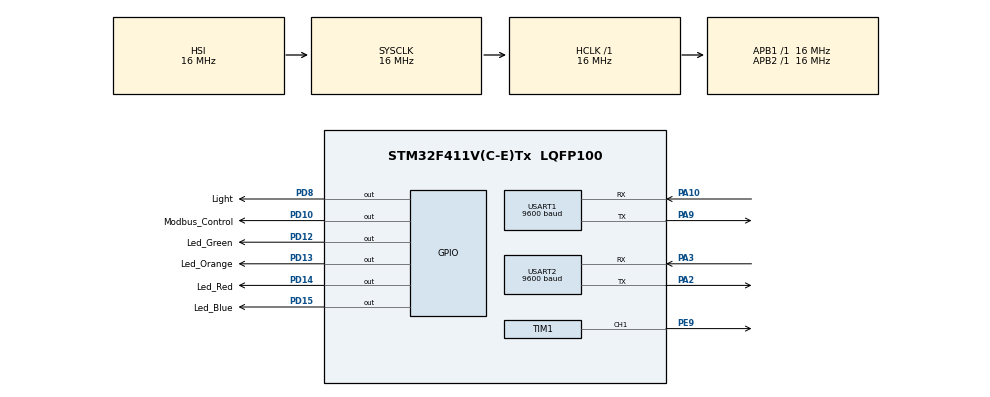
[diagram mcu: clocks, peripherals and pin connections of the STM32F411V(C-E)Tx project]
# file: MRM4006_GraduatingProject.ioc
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Mcu.Family=STM32F4
Mcu.Name=STM32F411V(C-E)Tx
Mcu.Package=LQFP100
NVIC.PriorityGroup=NVIC_PRIORITYGROUP_4
NVIC.USART1_IRQn=true\:0\:0\:false\:false\:true\:true
NVIC.USART2_IRQn=true\:0\:0\:false\:false\:true\:true
PA10.Mode=Asynchronous
PA10.Signal=USART1_RX
PA13.Mode=Serial_Wire
PA13.Signal=SYS_JTMS-SWDIO
PA14.Mode=Serial_Wire
PA14.Signal=SYS_JTCK-SWCLK
PA2.Mode=Asynchronous
PA2.Signal=USART2_TX
PA3.Mode=Asynchronous
PA3.Signal=USART2_RX
PA9.Mode=Asynchronous
PA9.Signal=USART1_TX
PD10.GPIO_Label=Modbus_Control
PD10.Signal=GPIO_Output
PD12.GPIO_Label=Led_Green
PD12.Signal=GPIO_Output
PD13.GPIO_Label=Led_Orange
PD13.Signal=GPIO_Output
PD14.GPIO_Label=Led_Red
PD14.Signal=GPIO_Output
PD15.GPIO_Label=Led_Blue
PD15.Signal=GPIO_Output
PD8.GPIO_Label=Light
PD8.Signal=GPIO_Output
PE9.Signal=S_TIM1_CH1
ProjectManager.HeapSize=0x200
ProjectManager.StackSize=0x400
ProjectManager.TargetToolchain=EWARM
RCC.AHBFreq_Value=16000000
RCC.APB1Freq_Value=16000000
RCC.APB2Freq_Value=16000000
RCC.CortexFreq_Value=16000000
RCC.HSE_VALUE=25000000
RCC.HSI_VALUE=16000000
RCC.LSE_VALUE=32768
RCC.SYSCLKFreq_VALUE=16000000
RCC.VCOOutputFreq_Value=192000000
SH.S_TIM1_CH1.0=TIM1_CH1,PWM Generation1 CH1
TIM1.Channel-PWM\ Generation1\ CH1=TIM_CHANNEL_1
TIM1.Period=19999
TIM1.Prescaler=15
USART1.BaudRate=9600
USART1.VirtualMode=VM_ASYNC
USART2.BaudRate=9600
USART2.VirtualMode=VM_ASYNC
board=MRM4006_GraduatingProject

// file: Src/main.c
/**
  ******************************************************************************
  * @file           : main.c
  * @brief          : Main program body
  ******************************************************************************
  ** This notice applies to any and all portions of this file
  * that are not between comment pairs USER CODE BEGIN and
  * USER CODE END. Other portions of this file, whether
  * inserted by the user or by software development tools
  * are owned by their respective copyright owners.
  *
  * COPYRIGHT(c) 2018 STMicroelectronics
  *
  * Redistribution and use in source and binary forms, with or without modification,
  * are permitted provided that the following conditions are met:
  *   1. Redistributions of source code must retain the above copyright notice,
  *      this list of conditions and the following disclaimer.
  *   2. Redistributions in binary form must reproduce the above copyright notice,
  *      this list of conditions and the following disclaimer in the documentation
  *      and/or other materials provided with the distribution.
  *   3. Neither the name of STMicroelectronics nor the names of its contributors
  *      may be used to endorse or promote products derived from this software
  *      without specific prior written permission.
  *
  * THIS SOFTWARE IS PROVIDED BY THE COPYRIGHT HOLDERS AND CONTRIBUTORS "AS IS"
  * AND ANY EXPRESS OR IMPLIED WARRANTIES, INCLUDING, BUT NOT LIMITED TO, THE
  * IMPLIED WARRANTIES OF MERCHANTABILITY AND FITNESS FOR A PARTICULAR PURPOSE ARE
  * DISCLAIMED. IN NO EVENT SHALL THE COPYRIGHT HOLDER OR CONTRIBUTORS BE LIABLE
  * FOR ANY DIRECT, INDIRECT, INCIDENTAL, SPECIAL, EXEMPLARY, OR CONSEQUENTIAL
  * DAMAGES (INCLUDING, BUT NOT LIMITED TO, PROCUREMENT OF SUBSTITUTE GOODS OR
  * SERVICES; LOSS OF USE, DATA, OR PROFITS; OR BUSINESS INTERRUPTION) HOWEVER
  * CAUSED AND ON ANY THEORY OF LIABILITY, WHETHER IN CONTRACT, STRICT LIABILITY,
  * OR TORT (INCLUDING NEGLIGENCE OR OTHERWISE) ARISING IN ANY WAY OUT OF THE USE
  * OF THIS SOFTWARE, EVEN IF ADVISED OF THE POSSIBILITY OF SUCH DAMAGE.
  *
  ******************************************************************************
  */
#include "main.h"
#include "stm32f4xx_hal.h"

/* USER CODE BEGIN Includes */
#include "crc.h"
#include "modbus.h"
/* USER CODE END Includes */

TIM_HandleTypeDef htim1;

UART_HandleTypeDef huart1;
UART_HandleTypeDef huart2;

/* USER CODE BEGIN PV */
/* Private variables ---------------------------------------------------------*/
uint8_t modbusResponse[20];
uint8_t modbusData[8];
int resultValue,readContol;
int raspDataControl = 0;
uint8_t raspData[12];
char raspRet[12];
int functionCode;
int value;
int s, temp;
int storeLoc = 0;
int waitCounter = 0;
/* USER CODE END PV */

void SystemClock_Config(void);
static void MX_GPIO_Init(void);
static void MX_USART2_UART_Init(void);
static void MX_TIM1_Init(void);
static void MX_USART1_UART_Init(void);
void HAL_TIM_MspPostInit(TIM_HandleTypeDef *htim);

/* USER CODE BEGIN PFP */
/* Private function prototypes -----------------------------------------------*/

/* USER CODE END PFP */

int main(void)
{

  /* MCU Configuration----------------------------------------------------------*/

  /* Reset of all peripherals, Initializes the Flash interface and the Systick. */
  HAL_Init();

  /* Configure the system clock */
  SystemClock_Config();

  /* Initialize all configured peripherals */
  MX_GPIO_Init();
  MX_USART2_UART_Init();
  MX_TIM1_Init();
  MX_USART1_UART_Init();
  /* USER CODE BEGIN 2 */
  HAL_TIM_PWM_Start(&htim1,TIM_CHANNEL_1);
  int deneme = 1;
  raspDataControl = 0;
  /* USER CODE END 2 */

  /* Infinite loop */
  /* USER CODE BEGIN WHILE */
  while (1)
  {
    if(raspDataControl == 0){
      // waiting raspberry pi data
      HAL_UART_Receive_IT(&huart1, (uint8_t*)raspData, 6);
      raspDataControl = 2;
    }
    else if(waitCounter == 1){
      // raspberry pi sent the data
      HAL_Delay(5);

      s = 0;
      temp = 0;
      for(int i = 0; i < 6; i++){
        if(raspData[i] == 'a'){
          s = i;
          break;
        }
      }
      if(s == 1){
        functionCode = raspData[0] - '0';
      }
      else if(s == 2){
        int temp1 = raspData[0] - '0';
        temp1 = temp1 * 10;
        int temp2 = raspData[1] - '0';
        functionCode = temp1 + temp2;
      }
      temp = s;
      s = s + 1;
      for(int i = s; i < 6; i++){
        if(raspData[i] == 'a'){
          s = i - 1;
          break;
        }
        else if(i == 5){
          s = i;
          break;
        }
      }
      HAL_Delay(3);
      int tempDif = s - temp;
      if(tempDif == 3){
        int temp1 = raspData[s - 2] - '0';
        temp1 = temp1 * 100;
        int temp2 = raspData[s - 1] - '0';
        temp2 = temp2 * 10;
        int temp3 = raspData[s] - '0';
        value = temp1 + temp2 + temp3;
      }
      else if((s - temp) == 2){
        int temp1 = raspData[s - 1] - '0';
        temp1 = temp1 * 10;
        int temp2 = raspData[s] - '0';
        value = temp1 + temp2;
      }
      else if((s - temp) == 1){
        if(raspData[s] == 'b'){
          value = -1;
        }
        else{
          value = raspData[s] - '0';
        }
      }
      // Perde
      if(functionCode == 50){
        if(value == -1){
          // Data read
          int tempr = (storeLoc - 1000) / 10;
          char dummy[20] = "dummyyoy";
          if(tempr >= 0 && tempr <= 9){
            HAL_UART_Transmit(&huart2, (uint8_t*)dummy, 8, 1000);
            HAL_Delay(2);
            sprintf(raspRet, "00%d", tempr);
            HAL_UART_Transmit(&huart2, (uint8_t*)raspRet, 3, 1000);
          }
          else if(tempr >= 10 && tempr <= 99){
            HAL_UART_Transmit(&huart2, (uint8_t*)dummy, 8, 1000);
            HAL_Delay(2);
            sprintf(raspRet, "0%d", tempr);
            HAL_UART_Transmit(&huart2, (uint8_t*)raspRet, 3, 1000);
          }
          else{
            HAL_UART_Transmit(&huart2, (uint8_t*)dummy, 8, 1000);
            HAL_Delay(2);
            sprintf(raspRet, "%d", tempr);
            HAL_UART_Transmit(&huart2, (uint8_t*)raspRet, 3, 1000);
          }
        }
        else{
          // Data write
          if(value == 1){
            value = 2000;
          }
          else{
            value = value / 10;
            value = (value * 10) + 1000;
          }

          storeLoc = value;
          __HAL_TIM_SET_COMPARE(&htim1,TIM_CHANNEL_1,storeLoc);
          HAL_Delay(3);
        }
      }
      // Isik
      else if(functionCode == 51){
        // resetting light pin
        if(value == 0){
          HAL_GPIO_WritePin(Light_GPIO_Port,Light_Pin,GPIO_PIN_RESET);
        }
        // setting light pin
        else{
          HAL_GPIO_WritePin(Light_GPIO_Port,Light_Pin,GPIO_PIN_SET);
        }
      }
      else{
        if(value == -1){
          //read data
          createModBusData(01,03,functionCode,01,modbusData);
          readContol = 1;
          readSingleRegister(&huart2,modbusData,modbusResponse);
          while(readContol !=0){}
          if(resultValue >= 0 && resultValue <= 9){
            sprintf(raspRet, "%00d", resultValue);
            HAL_UART_Transmit(&huart2, (uint8_t*)raspRet, 3, 1000);
          }
          else if(resultValue >= 10 && resultValue <= 99){
            sprintf(raspRet, "%0d", resultValue);
            HAL_UART_Transmit(&huart2, (uint8_t*)raspRet, 3, 1000);
          }
          else{
            sprintf(raspRet, "%d", resultValue);
            HAL_UART_Transmit(&huart2, (uint8_t*)raspRet, 3, 1000);
          }
        }
        else{
          // write data
          createModBusData(01,06,functionCode,value,modbusData);
          writeSingleRegister(&huart2,modbusData,modbusResponse);
          HAL_Delay(50);
        }
      }

      raspDataControl = 0;
      waitCounter = 0;
    }
    else{
      // do nothing.
    }
    /*
    if(0){
      //Klima sinyali gelirse
      for(int i = 1000; i < 2001; i+=20){
        __HAL_TIM_SET_COMPARE(&htim1,TIM_CHANNEL_1,i);
        HAL_Delay(33);
       }
      for(int i = 2000; i > 999; i-=20){
        __HAL_TIM_SET_COMPARE(&htim1,TIM_CHANNEL_1,i);
        HAL_Delay(33);
       }
    }
    else if(0){
      if(deneme == 1){

        //Write example
        //createModBusData(01,06,02,05,modbusData);
        //writeSingleRegister(&huart2,modbusData,modbusResponse);
        //deneme = 0;
        //HAL_Delay(500);
        //Read example
        createModBusData(01,03,03,01,modbusData);
        readContol = 1;
        readSingleRegister(&huart2,modbusData,modbusResponse);
        deneme = 0;
        HAL_Delay(500);
         //HAL_GPIO_TogglePin(Led_Blue_GPIO_Port, Led_Blue_Pin);
                    char aa[20];
            sprintf(aa, "%d", resultValue);
        HAL_UART_Transmit(&huart2, (uint8_t*)aa, 3, 1000);

      }
    }
    else if(1){
      if(deneme==1){
        readContol = 5;
        HAL_UART_Receive_IT(&huart1, (uint8_t*)raspData, 6);
        while(readContol == 5){}
        createModBusData(01,03,03,01,modbusData);
        readContol = 1;
        readSingleRegister(&huart2,modbusData,modbusResponse);
        deneme = 0;
        HAL_Delay(500);
        char aa[20];
        sprintf(aa, "%d", resultValue);
        HAL_UART_Transmit(&huart2, (uint8_t*)aa, 3, 1000);

        char aa[20] = "deneme\n";
        HAL_UART_Transmit(&huart2, (uint8_t*)aa, 7, 1000);
        HAL_UART_Receive_IT(&huart1, (uint8_t*)raspData, 12);
        HAL_UART_Transmit(&huart2, (uint8_t*)aa, 7, 1000);
        //char aa[20] = "deneme\n";
        //HAL_UART_Transmit(&huart2, (uint8_t*)aa, 7, 1000);
        deneme = 0;

      }
    }
  */
  /* USER CODE END WHILE */

  }

}

void SystemClock_Config(void)
{

  RCC_OscInitTypeDef RCC_OscInitStruct;
  RCC_ClkInitTypeDef RCC_ClkInitStruct;

    /**Configure the main internal regulator output voltage
    */
  __HAL_RCC_PWR_CLK_ENABLE();

  __HAL_PWR_VOLTAGESCALING_CONFIG(PWR_REGULATOR_VOLTAGE_SCALE1);

    /**Initializes the CPU, AHB and APB busses clocks
    */
  RCC_OscInitStruct.OscillatorType = RCC_OSCILLATORTYPE_HSI;
  RCC_OscInitStruct.HSIState = RCC_HSI_ON;
  RCC_OscInitStruct.HSICalibrationValue = 16;
  RCC_OscInitStruct.PLL.PLLState = RCC_PLL_NONE;
  if (HAL_RCC_OscConfig(&RCC_OscInitStruct) != HAL_OK)
  {
    _Error_Handler(__FILE__, __LINE__);
  }

    /**Initializes the CPU, AHB and APB busses clocks
    */
  RCC_ClkInitStruct.ClockType = RCC_CLOCKTYPE_HCLK|RCC_CLOCKTYPE_SYSCLK
                              |RCC_CLOCKTYPE_PCLK1|RCC_CLOCKTYPE_PCLK2;
  RCC_ClkInitStruct.SYSCLKSource = RCC_SYSCLKSOURCE_HSI;
  RCC_ClkInitStruct.AHBCLKDivider = RCC_SYSCLK_DIV1;
  RCC_ClkInitStruct.APB1CLKDivider = RCC_HCLK_DIV1;
  RCC_ClkInitStruct.APB2CLKDivider = RCC_HCLK_DIV1;

  if (HAL_RCC_ClockConfig(&RCC_ClkInitStruct, FLASH_LATENCY_0) != HAL_OK)
  {
    _Error_Handler(__FILE__, __LINE__);
  }

    /**Configure the Systick interrupt time
    */
  HAL_SYSTICK_Config(HAL_RCC_GetHCLKFreq()/1000);

    /**Configure the Systick
    */
  HAL_SYSTICK_CLKSourceConfig(SYSTICK_CLKSOURCE_HCLK);

  /* SysTick_IRQn interrupt configuration */
  HAL_NVIC_SetPriority(SysTick_IRQn, 0, 0);
}

/* TIM1 init function */
static void MX_TIM1_Init(void)
{

  TIM_MasterConfigTypeDef sMasterConfig;
  TIM_OC_InitTypeDef sConfigOC;
  TIM_BreakDeadTimeConfigTypeDef sBreakDeadTimeConfig;

  htim1.Instance = TIM1;
  htim1.Init.Prescaler = 15;
  htim1.Init.CounterMode = TIM_COUNTERMODE_UP;
  htim1.Init.Period = 19999;
  htim1.Init.ClockDivision = TIM_CLOCKDIVISION_DIV1;
  htim1.Init.RepetitionCounter = 0;
  if (HAL_TIM_PWM_Init(&htim1) != HAL_OK)
  {
    _Error_Handler(__FILE__, __LINE__);
  }

  sMasterConfig.MasterOutputTrigger = TIM_TRGO_RESET;
  sMasterConfig.MasterSlaveMode = TIM_MASTERSLAVEMODE_DISABLE;
  if (HAL_TIMEx_MasterConfigSynchronization(&htim1, &sMasterConfig) != HAL_OK)
  {
    _Error_Handler(__FILE__, __LINE__);
  }

  sConfigOC.OCMode = TIM_OCMODE_PWM1;
  sConfigOC.Pulse = 0;
  sConfigOC.OCPolarity = TIM_OCPOLARITY_HIGH;
  sConfigOC.OCNPolarity = TIM_OCNPOLARITY_HIGH;
  sConfigOC.OCFastMode = TIM_OCFAST_DISABLE;
  sConfigOC.OCIdleState = TIM_OCIDLESTATE_RESET;
  sConfigOC.OCNIdleState = TIM_OCNIDLESTATE_RESET;
  if (HAL_TIM_PWM_ConfigChannel(&htim1, &sConfigOC, TIM_CHANNEL_1) != HAL_OK)
  {
    _Error_Handler(__FILE__, __LINE__);
  }

  sBreakDeadTimeConfig.OffStateRunMode = TIM_OSSR_DISABLE;
  sBreakDeadTimeConfig.OffStateIDLEMode = TIM_OSSI_DISABLE;
  sBreakDeadTimeConfig.LockLevel = TIM_LOCKLEVEL_OFF;
  sBreakDeadTimeConfig.DeadTime = 0;
  sBreakDeadTimeConfig.BreakState = TIM_BREAK_DISABLE;
  sBreakDeadTimeConfig.BreakPolarity = TIM_BREAKPOLARITY_HIGH;
  sBreakDeadTimeConfig.AutomaticOutput = TIM_AUTOMATICOUTPUT_DISABLE;
  if (HAL_TIMEx_ConfigBreakDeadTime(&htim1, &sBreakDeadTimeConfig) != HAL_OK)
  {
    _Error_Handler(__FILE__, __LINE__);
  }

  HAL_TIM_MspPostInit(&htim1);

}

/* USART1 init function */
static void MX_USART1_UART_Init(void)
{

  huart1.Instance = USART1;
  huart1.Init.BaudRate = 9600;
  huart1.Init.WordLength = UART_WORDLENGTH_8B;
  huart1.Init.StopBits = UART_STOPBITS_1;
  huart1.Init.Parity = UART_PARITY_NONE;
  huart1.Init.Mode = UART_MODE_TX_RX;
  huart1.Init.HwFlowCtl = UART_HWCONTROL_NONE;
  huart1.Init.OverSampling = UART_OVERSAMPLING_16;
  if (HAL_UART_Init(&huart1) != HAL_OK)
  {
    _Error_Handler(__FILE__, __LINE__);
  }

}

/* USART2 init function */
static void MX_USART2_UART_Init(void)
{

  huart2.Instance = USART2;
  huart2.Init.BaudRate = 9600;
  huart2.Init.WordLength = UART_WORDLENGTH_8B;
  huart2.Init.StopBits = UART_STOPBITS_1;
  huart2.Init.Parity = UART_PARITY_NONE;
  huart2.Init.Mode = UART_MODE_TX_RX;
  huart2.Init.HwFlowCtl = UART_HWCONTROL_NONE;
  huart2.Init.OverSampling = UART_OVERSAMPLING_16;
  if (HAL_UART_Init(&huart2) != HAL_OK)
  {
    _Error_Handler(__FILE__, __LINE__);
  }

}

/** Configure pins as
        * Analog
        * Input
        * Output
        * EVENT_OUT
        * EXTI
*/
static void MX_GPIO_Init(void)
{

  GPIO_InitTypeDef GPIO_InitStruct;

  /* GPIO Ports Clock Enable */
  __HAL_RCC_GPIOA_CLK_ENABLE();
  __HAL_RCC_GPIOE_CLK_ENABLE();
  __HAL_RCC_GPIOD_CLK_ENABLE();

  /*Configure GPIO pin Output Level */
  HAL_GPIO_WritePin(GPIOD, Light_Pin|Modbus_Control_Pin|Led_Green_Pin|Led_Orange_Pin
                          |Led_Red_Pin|Led_Blue_Pin, GPIO_PIN_RESET);

  /*Configure GPIO pins : Light_Pin Modbus_Control_Pin Led_Green_Pin Led_Orange_Pin
                           Led_Red_Pin Led_Blue_Pin */
  GPIO_InitStruct.Pin = Light_Pin|Modbus_Control_Pin|Led_Green_Pin|Led_Orange_Pin
                          |Led_Red_Pin|Led_Blue_Pin;
  GPIO_InitStruct.Mode = GPIO_MODE_OUTPUT_PP;
  GPIO_InitStruct.Pull = GPIO_NOPULL;
  GPIO_InitStruct.Speed = GPIO_SPEED_FREQ_LOW;
  HAL_GPIO_Init(GPIOD, &GPIO_InitStruct);

}

/* USER CODE BEGIN 4 */
void HAL_UART_RxCpltCallback(UART_HandleTypeDef *huart){
  if(readContol == 1){
    readContol = 0;
    int retL,retH;
    retL = (modbusResponse[3] & 0x0F) * (16*16);
    retH = ((modbusResponse[3] & 0xF0) >> 4) * (16*16*16);
    resultValue = retL + retH + (int)modbusResponse[4];
  }
  if(raspDataControl == 2){
    raspDataControl = 1;
    HAL_GPIO_TogglePin(Led_Blue_GPIO_Port, Led_Blue_Pin);
    waitCounter = 1;
  }

  if(huart == &huart1){
    // rasp data came from raspberry pi
    int rec[1];
    rec[0] = raspData[0] * 10;
    HAL_UART_Transmit(&huart1, (uint8_t*)rec, 1, 1000);
  }
}
/* USER CODE END 4 */

void _Error_Handler(char *file, int line)
{
  while(1)
  {
  }
}

/************************ (C) COPYRIGHT STMicroelectronics *****END OF FILE****/
